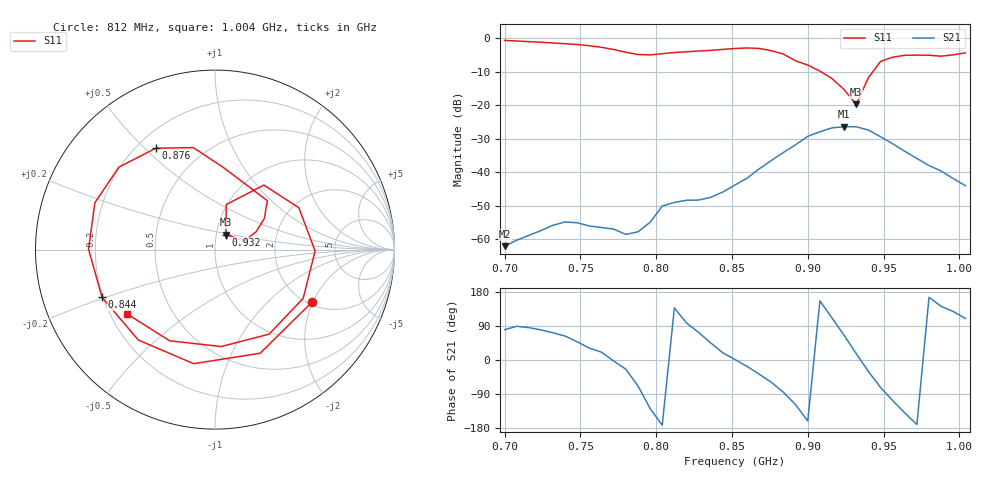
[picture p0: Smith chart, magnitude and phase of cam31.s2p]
# Hz S RI R 50
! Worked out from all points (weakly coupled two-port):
!   39 points, 700 MHz to 1.004 GHz, reference 50 ohm
!   highest |S21| = -26.35 dB at 924 MHz (marker M1); lowest = -62.0 dB at 700 MHz (marker M2)
!   lowest |S11| = -19.7 dB at 932 MHz (marker M3), VSWR 1.23, Z = 55.6 + j9.4 ohm
!   |S11| at or under -10 dB: 908.8 MHz to 942.9 MHz (34.07 MHz wide, 3.68 % of centre)
!   S12 and S22 are empty: the file has one direction only
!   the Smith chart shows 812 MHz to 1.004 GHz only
!   S11 on the Smith chart (normalised r, x): 812 MHz: 2.09, -1.97; 844 MHz: 0.20, -0.20; 876 MHz: 0.27, +0.54; 932 MHz: 1.11, +0.19; 1.004 GHz: 0.27, -0.31
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7e8  0.7617 0.5316  0.000139 0.000782  0 0  0 0
7.24e8  0.8355 -0.2556  0.000249 0.00133  0 0  0 0
7.4e8  0.4453 -0.7021  0.000827 0.00163  0 0  0 0
7.56e8  -0.1958 -0.7507  0.00136 0.000823  0 0  0 0
7.72e8  -0.6528 -0.1908  0.00142 -7.08e-05  0 0  0 0
7.8e8  -0.5762 0.2289  0.00108 -0.000489  0 0  0 0
7.88e8  -0.2282 0.5263  0.00048 -0.00121  0 0  0 0
7.96e8  0.2557 0.5041  -0.00111 -0.00142  0 0  0 0
8.04e8  0.5703 0.148  -0.00311 -0.000427  0 0  0 0
8.12e8  0.5401 -0.2932  -0.00263 0.00242  0 0  0 0
8.28e8  -0.1188 -0.6356  0.00114 0.0037  0 0  0 0
8.44e8  -0.6292 -0.2661  0.00482 0.00165  0 0  0 0
8.52e8  -0.7045 0.00255  0.00649 0.000128  0 0  0 0
8.76e8  -0.3299 0.5648  0.0078 -0.0129  0 0  0 0
9e8  0.2922 0.2724  -0.0327 -0.0112  0 0  0 0
9.08e8  0.2748 0.1734  -0.0369 0.0164  0 0  0 0
9.24e8  0.1648 0.0488  0.0202 0.0437  0 0  0 0
9.32e8  0.0605 0.0836  0.0459 0.0138  0 0  0 0
9.48e8  0.2725 0.3595  0.0103 -0.0324  0 0  0 0
9.56e8  0.4673 0.2332  -0.00779 -0.0256  0 0  0 0
9.8e8  0.3014 -0.471  -0.0123 0.00317  0 0  0 0
1.004e9  -0.4882 -0.3594  -0.00214 0.00598  0 0  0 0
